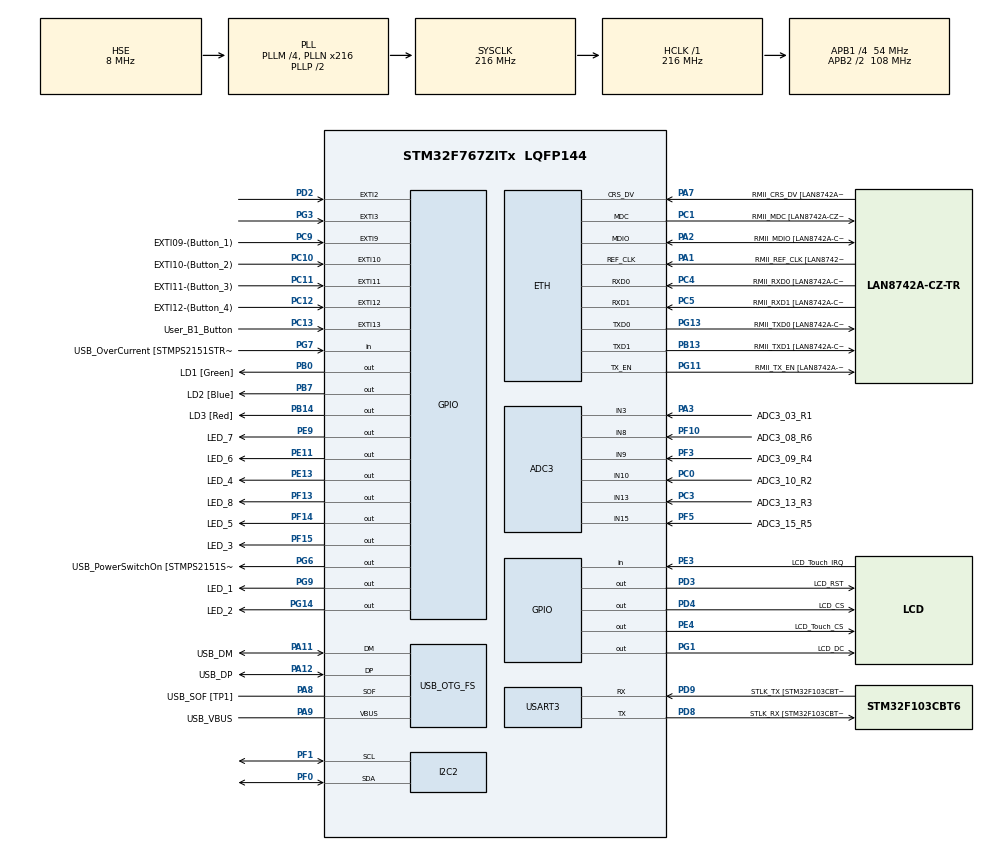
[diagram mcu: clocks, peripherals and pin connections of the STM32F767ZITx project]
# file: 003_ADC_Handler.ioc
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ADC3.Channel-0\#ChannelRegularConversion=ADC_CHANNEL_3
ADC3.ContinuousConvMode=ENABLE
ADC3.DMAContinuousRequests=DISABLE
ADC3.DiscontinuousConvMode=DISABLE
ADC3.EOCSelection=ADC_EOC_SEQ_CONV
ADC3.NbrOfConversion=1
ADC3.NbrOfConversionFlag=1
ADC3.Rank-0\#ChannelRegularConversion=1
ADC3.SamplingTime-0\#ChannelRegularConversion=ADC_SAMPLETIME_480CYCLES
ETH.MediaInterface=HAL_ETH_RMII_MODE
ETH.PHY_Name=LAN8742A_PHY_ADDRESS
ETH.PHY_Value=0
ETH.PhyAddress=0
I2C2.Timing=0x20404768
Mcu.Family=STM32F7
Mcu.Name=STM32F767ZITx
Mcu.Package=LQFP144
NVIC.EXTI15_10_IRQn=true\:1\:0\:true\:false\:true\:true\:true\:true
NVIC.PriorityGroup=NVIC_PRIORITYGROUP_4
PA1.GPIO_Label=RMII_REF_CLK [LAN8742A-CZ-TR_REFCLK0]
PA1.Mode=RMII
PA1.Signal=ETH_REF_CLK
PA10.GPIO_Label=USB_ID
PA10.Signal=USB_OTG_FS_ID
PA11.GPIO_Label=USB_DM
PA11.Mode=Device_Only
PA11.Signal=USB_OTG_FS_DM
PA12.GPIO_Label=USB_DP
PA12.Mode=Device_Only
PA12.Signal=USB_OTG_FS_DP
PA13.GPIO_Label=TMS
PA13.Mode=Serial_Wire
PA13.Signal=SYS_JTMS-SWDIO
PA14.GPIO_Label=TCK
PA14.Mode=Serial_Wire
PA14.Signal=SYS_JTCK-SWCLK
PA2.GPIO_Label=RMII_MDIO [LAN8742A-CZ-TR_MDIO]
PA2.Mode=RMII
PA2.Signal=ETH_MDIO
PA3.GPIO_Label=ADC3_03_R1
PA3.Signal=ADCx_IN3
PA6.GPIO_Label=TIM3_CH1-[RGB-RED]
PA6.Signal=S_TIM3_CH1
PA7.GPIO_Label=RMII_CRS_DV [LAN8742A-CZ-TR_CRS_DV]
PA7.Mode=RMII
PA7.Signal=ETH_CRS_DV
PA8.GPIO_Label=USB_SOF [TP1]
PA8.Mode=Activate_SOF_FS
PA8.Signal=USB_OTG_FS_SOF
PA9.GPIO_Label=USB_VBUS
PA9.Mode=Activate_VBUS
PA9.Signal=USB_OTG_FS_VBUS
PB0.GPIO_Label=LD1 [Green]
PB0.Signal=GPIO_Output
PB1.Signal=S_TIM3_CH4
PB13.GPIO_Label=RMII_TXD1 [LAN8742A-CZ-TR_TXD1]
PB13.Mode=RMII
PB13.Signal=ETH_TXD1
PB14.GPIO_Label=LD3 [Red]
PB14.Signal=GPIO_Output
PB3.GPIO_Label=SWO
PB3.Signal=SYS_JTDO-SWO
PB7.GPIO_Label=LD2 [Blue]
PB7.Signal=GPIO_Output
PC0.GPIO_Label=ADC3_10_R2
PC0.Signal=ADCx_IN10
PC1.GPIO_Label=RMII_MDC [LAN8742A-CZ-TR_MDC]
PC1.Mode=RMII
PC1.Signal=ETH_MDC
PC10.GPIO_Label=EXTI10-(Button_2)
PC10.Signal=GPXTI10
PC11.GPIO_Label=EXTI11-(Button_3)
PC11.Signal=GPXTI11
PC12.GPIO_Label=EXTI12-(Button_4)
PC12.Signal=GPXTI12
PC13.GPIO_Label=User_B1_Button
PC13.Signal=GPXTI13
PC14/OSC32_IN.Signal=RCC_OSC32_IN
PC15/OSC32_OUT.Signal=RCC_OSC32_OUT
PC3.GPIO_Label=ADC3_13_R3
PC3.Signal=ADCx_IN13
PC4.GPIO_Label=RMII_RXD0 [LAN8742A-CZ-TR_RXD0]
PC4.Mode=RMII
PC4.Signal=ETH_RXD0
PC5.GPIO_Label=RMII_RXD1 [LAN8742A-CZ-TR_RXD1]
PC5.Mode=RMII
PC5.Signal=ETH_RXD1
PC7.GPIO_Label=TIM3_CH2-[RGB-Green]
PC7.Signal=S_TIM3_CH2
PC8.GPIO_Label=TIM3_CH3-[RGB-Blue]
PC8.Signal=S_TIM3_CH3
PC9.GPIO_Label=EXTI09-(Button_1)
PC9.Signal=GPXTI9
PD12.Signal=S_TIM4_CH1
PD13.Signal=S_TIM4_CH2
PD14.Signal=S_TIM4_CH3
PD15.Signal=S_TIM4_CH4
PD2.Signal=GPXTI2
PD3.GPIO_Label=LCD_RST
PD3.Signal=GPIO_Output
PD4.GPIO_Label=LCD_CS
PD4.Signal=GPIO_Output
PD8.GPIO_Label=STLK_RX [STM32F103CBT6_PA3]
PD8.Mode=Asynchronous
PD8.Signal=USART3_TX
PD9.GPIO_Label=STLK_TX [STM32F103CBT6_PA2]
PD9.Mode=Asynchronous
PD9.Signal=USART3_RX
PE11.GPIO_Label=LED_6
PE11.Signal=GPIO_Output
PE13.GPIO_Label=LED_4
PE13.Signal=GPIO_Output
PE2.GPIO_Label=LCD-Touch-CLK
PE2.Signal=SPI4_SCK
PE3.GPIO_Label=LCD_Touch_IRQ
PE3.Signal=GPIO_Input
PE4.GPIO_Label=LCD_Touch_CS
PE4.Signal=GPIO_Output
PE5.GPIO_Label=LCD_Touch_DO
PE5.Signal=SPI4_MISO
PE6.GPIO_Label=LCD_Touch_DIN
PE6.Signal=SPI4_MOSI
PE9.GPIO_Label=LED_7
PE9.Signal=GPIO_Output
PF0.Mode=I2C
PF0.Signal=I2C2_SDA
PF1.Mode=I2C
PF1.Signal=I2C2_SCL
PF10.GPIO_Label=ADC3_08_R6
PF10.Mode=IN8
PF10.Signal=ADC3_IN8
PF13.GPIO_Label=LED_8
PF13.Signal=GPIO_Output
PF14.GPIO_Label=LED_5
PF14.Signal=GPIO_Output
PF15.GPIO_Label=LED_3
PF15.Signal=GPIO_Output
PF3.GPIO_Label=ADC3_09_R4
PF3.Mode=IN9
PF3.Signal=ADC3_IN9
PF5.GPIO_Label=ADC3_15_R5
PF5.Mode=IN15
PF5.Signal=ADC3_IN15
PF7.GPIO_Label=LCD_SCK
PF7.Signal=SPI5_SCK
PF8.GPIO_Label=LCD_MISO
PF8.Signal=SPI5_MISO
PF9.GPIO_Label=LCD_MOSI
PF9.Signal=SPI5_MOSI
PG1.GPIO_Label=LCD_DC
PG1.Signal=GPIO_Output
PG11.GPIO_Label=RMII_TX_EN [LAN8742A-CZ-TR_TXEN]
PG11.Mode=RMII
PG11.Signal=ETH_TX_EN
PG13.GPIO_Label=RMII_TXD0 [LAN8742A-CZ-TR_TXD0]
PG13.Mode=RMII
PG13.Signal=ETH_TXD0
PG14.GPIO_Label=LED_2
PG14.Signal=GPIO_Output
PG3.Signal=GPXTI3
PG6.GPIO_Label=USB_PowerSwitchOn [STMPS2151STR_EN]
PG6.Signal=GPIO_Output
PG7.GPIO_Label=USB_OverCurrent [STMPS2151STR_FAULT]
PG7.Signal=GPIO_Input
PG9.GPIO_Label=LED_1
PG9.Signal=GPIO_Output
PH0/OSC_IN.GPIO_Label=MCO [STM32F103CBT6_PA8]
PH0/OSC_IN.Mode=HSE-External-Clock-Source
PH0/OSC_IN.Signal=RCC_OSC_IN
PH1/OSC_OUT.Mode=HSE-External-Clock-Source
PH1/OSC_OUT.Signal=RCC_OSC_OUT
ProjectManager.HeapSize=0x200
ProjectManager.StackSize=0x400
ProjectManager.TargetToolchain=STM32CubeIDE
RCC.48MHZClocksFreq_Value=24000000
RCC.AHBFreq_Value=216000000
RCC.APB1CLKDivider=RCC_HCLK_DIV4
RCC.APB1Freq_Value=54000000
RCC.APB1TimFreq_Value=108000000
RCC.APB2CLKDivider=RCC_HCLK_DIV2
RCC.APB2Freq_Value=108000000
RCC.APB2TimFreq_Value=216000000
RCC.CortexFreq_Value=216000000
RCC.HCLKFreq_Value=216000000
RCC.HSE_VALUE=8000000
RCC.HSI_VALUE=16000000
RCC.LSE_VALUE=32768
RCC.PLLM=4
RCC.PLLMUL=RCC_PLL_MUL9
RCC.PLLN=216
RCC.PLLQ=9
RCC.PRESCALERUSB=RCC_USBCLKSOURCE_PLL_DIV1_5
RCC.SYSCLKFreq_VALUE=216000000
RCC.SYSCLKSource=RCC_SYSCLKSOURCE_PLLCLK
RCC.SYSCLKSourceVirtual=RCC_SYSCLKSOURCE_PLLCLK
RCC.USBFreq_Value=48000000
RCC.VCOOutputFreq_Value=432000000
SH.ADCx_IN10.0=ADC3_IN10,IN10
SH.ADCx_IN13.0=ADC3_IN13,IN13
SH.ADCx_IN3.0=ADC3_IN3,IN3
SH.S_TIM3_CH1.0=TIM3_CH1
SH.S_TIM3_CH2.0=TIM3_CH2
SH.S_TIM3_CH3.0=TIM3_CH3
SH.S_TIM3_CH4.0=TIM3_CH4
SH.S_TIM4_CH1.0=TIM4_CH1
SH.S_TIM4_CH2.0=TIM4_CH2
SH.S_TIM4_CH3.0=TIM4_CH3
SH.S_TIM4_CH4.0=TIM4_CH4
USART3.VirtualMode-Asynchronous=VM_ASYNC
USB_OTG_FS.VirtualMode=Device_Only
VP_RNG_VS_RNG.Mode=RNG_Activate
board=NUCLEO-F767ZI

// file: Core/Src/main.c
/* USER CODE BEGIN Header */
/**
  ******************************************************************************
  * @file           : main.c
  * @brief          : Main program body
  ******************************************************************************
  * @attention
  *
  * Copyright (c) 2025 STMicroelectronics.
  * All rights reserved.
  *
  * This software is licensed under terms that can be found in the LICENSE file
  * in the root directory of this software component.
  * If no LICENSE file comes with this software, it is provided AS-IS.
  *
  ******************************************************************************
  */
/* USER CODE END Header */
#include "main.h"
#include "adc.h"
#include "eth.h"
#include "i2c.h"
#include "rng.h"
#include "usart.h"
#include "usb_otg.h"
#include "gpio.h"

/* USER CODE BEGIN Includes */
#include<stdio.h>
#include<stdlib.h>
#include<string.h>
#include <stddef.h>  /* for size_t */
/* USER CODE END Includes */

/* USER CODE BEGIN PD */

/* Adjust if your analog rail isn’t exactly 3300 mV */
#define VDDA_MV 3300
/* Number of samples to average each read (1, 4, 8, 16 …) */
#define POT_AVG_N 16
/* USER CODE END PD */

void SystemClock_Config(void);

int main(void)
{

  /* MCU Configuration--------------------------------------------------------*/

  /* Reset of all peripherals, Initializes the Flash interface and the Systick. */
  HAL_Init();

  /* Configure the system clock */
  SystemClock_Config();

  /* Initialize all configured peripherals */
  MX_GPIO_Init();
  MX_ETH_Init();
  MX_USART3_UART_Init();
  MX_USB_OTG_FS_PCD_Init();
  MX_ADC3_Init();
  MX_RNG_Init();
  MX_I2C2_Init();
  /* Infinite loop */
  while (1)
  {

    /* USER CODE BEGIN 3 */
	  /* Start a single conversion (if your ADC is not in continuous mode) */
	     if (HAL_ADC_Start(&hadc3) != HAL_OK) {
	         Error_Handler();
	     }

	     /* Wait for conversion to complete (timeout 100 ms) */
	     if (HAL_ADC_PollForConversion(&hadc3, 100) == HAL_OK) {
	         uint32_t adc_val = HAL_ADC_GetValue(&hadc3);  // 0..4095

	         /* Format as text and transmit */

	         char buf[32];
	         int len = snprintf(buf, sizeof(buf), "ADC3_IN3=%lu\r\n", adc_val);

	         if (len > 0) {
	             HAL_UART_Transmit(&huart3, (uint8_t*)buf, (uint16_t)len, 100);
	         }
	     }

//	     /* (Optional) stop if you started each time and your ADC isn’t continuous */
//	     HAL_ADC_Stop(&hadc3);

	     HAL_Delay(500);
  /* USER CODE END 3 */
  }
}

void SystemClock_Config(void)
{
  RCC_OscInitTypeDef RCC_OscInitStruct = {0};
  RCC_ClkInitTypeDef RCC_ClkInitStruct = {0};

  /** Configure the main internal regulator output voltage
  */
  __HAL_RCC_PWR_CLK_ENABLE();
  __HAL_PWR_VOLTAGESCALING_CONFIG(PWR_REGULATOR_VOLTAGE_SCALE1);

  /** Initializes the RCC Oscillators according to the specified parameters
  * in the RCC_OscInitTypeDef structure.
  */
  RCC_OscInitStruct.OscillatorType = RCC_OSCILLATORTYPE_HSE;
  RCC_OscInitStruct.HSEState = RCC_HSE_BYPASS;
  RCC_OscInitStruct.PLL.PLLState = RCC_PLL_ON;
  RCC_OscInitStruct.PLL.PLLSource = RCC_PLLSOURCE_HSE;
  RCC_OscInitStruct.PLL.PLLM = 4;
  RCC_OscInitStruct.PLL.PLLN = 216;
  RCC_OscInitStruct.PLL.PLLP = RCC_PLLP_DIV2;
  RCC_OscInitStruct.PLL.PLLQ = 9;
  RCC_OscInitStruct.PLL.PLLR = 2;
  if (HAL_RCC_OscConfig(&RCC_OscInitStruct) != HAL_OK)
  {
    Error_Handler();
  }

  /** Activate the Over-Drive mode
  */
  if (HAL_PWREx_EnableOverDrive() != HAL_OK)
  {
    Error_Handler();
  }

  /** Initializes the CPU, AHB and APB buses clocks
  */
  RCC_ClkInitStruct.ClockType = RCC_CLOCKTYPE_HCLK|RCC_CLOCKTYPE_SYSCLK
                              |RCC_CLOCKTYPE_PCLK1|RCC_CLOCKTYPE_PCLK2;
  RCC_ClkInitStruct.SYSCLKSource = RCC_SYSCLKSOURCE_PLLCLK;
  RCC_ClkInitStruct.AHBCLKDivider = RCC_SYSCLK_DIV1;
  RCC_ClkInitStruct.APB1CLKDivider = RCC_HCLK_DIV4;
  RCC_ClkInitStruct.APB2CLKDivider = RCC_HCLK_DIV2;

  if (HAL_RCC_ClockConfig(&RCC_ClkInitStruct, FLASH_LATENCY_7) != HAL_OK)
  {
    Error_Handler();
  }
}

void Error_Handler(void)
{
  /* USER CODE BEGIN Error_Handler_Debug */
  __disable_irq();
  while (1)
  {
    /* Optionally flash a board LED fast here to indicate a fault */
  }
  /* USER CODE END Error_Handler_Debug */
}
